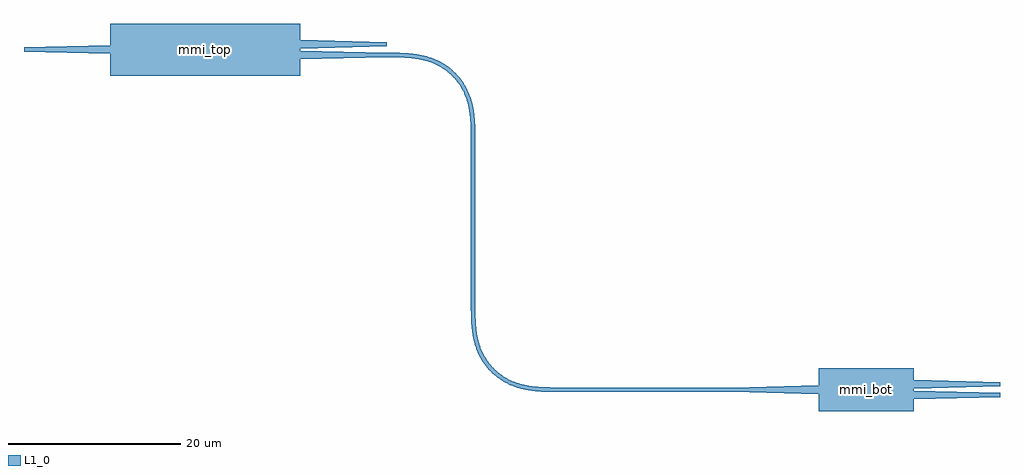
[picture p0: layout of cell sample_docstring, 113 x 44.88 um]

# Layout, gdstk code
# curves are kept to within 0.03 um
from math import pi, radians
import gdstk
lib = gdstk.Library(unit=1e-6, precision=1e-09)
def R(c, l, rs):  # rectangles x0, y0, x1, y1
    for r in rs: c.add(gdstk.rectangle(r[:2], r[2:], *l))
def P(c, l, *ps):  # polygons
    for p in ps: c.add(gdstk.Polygon(p, *l))
L1_0 = (1, 0)

mmi1x2_gdsfactorypcompon = lib.new_cell('mmi1x2_gdsfactorypcomponentspmmispmmi1x2_WNone_WT1_LT10_58948acf')
P(mmi1x2_gdsfactorypcompon, L1_0, [(0,-2.5),(0,-0.5),(-10,-0.25),(-10,0.25),(0,0.5),(0,2.5),(11,2.5),(11,1.125),(21,0.875),(21,0.375),(11,0.125),(11,-0.125),(21,-0.375),(21,-0.875),(11,-1.125),(11,-2.5)])

c_mmi1x2_gdsfactorypcompon = lib.new_cell('mmi1x2_gdsfactorypcomponentspmmispmmi1x2_WNone_WT1_LT10_da062134')
P(c_mmi1x2_gdsfactorypcompon, L1_0, [(0,-3),(0,-0.5),(-10,-0.25),(-10,0.25),(0,0.5),(0,3),(22,3),(22,1.125),(32,0.875),(32,0.375),(22,0.125),(22,-0.125),(32,-0.375),(32,-0.875),(22,-1.125),(22,-3)])

bend_euler_gdsfactorypco = lib.new_cell('bend_euler_gdsfactorypcomponentspbendspbend_euler_R10_A_335c8724')
P(bend_euler_gdsfactorypco, L1_0, [(0,-0.25),(0,0.25),(1.655,0.269),(2.881,0.353),(3.952,0.52),(4.99,0.806),(5.731,1.113),(6.431,1.505),(7.079,1.976),(7.575,2.425),(8.024,2.921),(8.495,3.569),(8.887,4.269),(9.194,5.01),(9.48,6.048),(9.647,7.119),(9.731,8.345),(9.75,10),(10.25,10),(10.235,8.468),(10.158,7.205),(10.023,6.224),(9.797,5.254),(9.457,4.312),(9.066,3.545),(8.5,2.715),(7.928,2.072),(7.285,1.5),(6.455,0.934),(5.688,0.543),(4.746,0.203),(3.776,-0.023),(2.795,-0.158),(1.532,-0.235)])

straight_gdsfactorypcomp = lib.new_cell('straight_gdsfactorypcomponentspwaveguidespstraight_L18p_789c7ef0')
R(straight_gdsfactorypcomp, L1_0, [(0,-0.25,18.75,0.25)])

c_straight_gdsfactorypcomp = lib.new_cell('straight_gdsfactorypcomponentspwaveguidespstraight_L20__1d537c51')
R(c_straight_gdsfactorypcomp, L1_0, [(0,-0.25,20,0.25)])

sample_docstring = lib.new_cell('sample_docstring')
sample_docstring.add(gdstk.Reference(mmi1x2_gdsfactorypcompon, (92,-39.375)))
sample_docstring.add(gdstk.Reference(c_mmi1x2_gdsfactorypcompon, (10,0)))
sample_docstring.add(gdstk.Reference(bend_euler_gdsfactorypco, (52,-10.625), rotation=pi/2))
sample_docstring.add(gdstk.Reference(bend_euler_gdsfactorypco, (62,-39.375), rotation=pi, x_reflection=True))
sample_docstring.add(gdstk.Reference(straight_gdsfactorypcomp, (52,-10.625), rotation=3*pi/2))
sample_docstring.add(gdstk.Reference(c_straight_gdsfactorypcomp, (62,-39.375)))
sample_docstring.add(gdstk.Label('mmi_bot', (97.5,-39.375), layer=206, texttype=0))
sample_docstring.add(gdstk.Label('mmi_top', (21,0), layer=206, texttype=0))

lib.write_gds('sample_docstring.gds')
